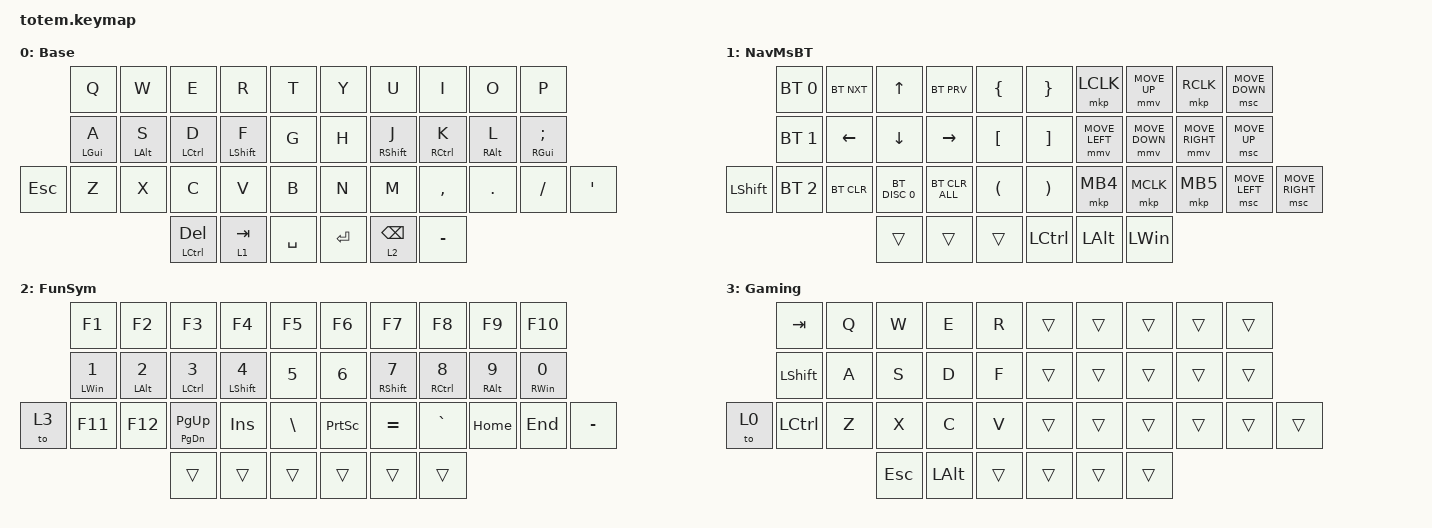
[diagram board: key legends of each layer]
#include <behaviors.dtsi>
#include <dt-bindings/zmk/bt.h>
#include <dt-bindings/zmk/keys.h>
#include <dt-bindings/zmk/mouse.h>

#include "mouse.dtsi"

#define Base        0
#define NavNum      1
#define FunSym      2
#define Gaming      3

&mt {
    quick-tap-ms = <100>;
    global-quick-tap;
    flavor = "tap-preferred";
    tapping-term-ms = <170>;
};

&lt {
    tapping-term-ms = <240>;
    flavor = "balanced";
    quick-tap-ms = <150>;
};

/ {
    behaviors {
        hm: homerow_mods {
            compatible = "zmk,behavior-hold-tap";
            label = "HOMEROW_MODS";
            #binding-cells = <2>;
            flavor = "tap-preferred";
            tapping-term-ms = <200>;
            quick-tap-ms = <125>;
            global-quick-tap;
            bindings = <&kp>, <&kp>;
        };
    };

    combos { compatible = "zmk,combos"; };

    keymap {
        compatible = "zmk,keymap";

        Base {
            label = "Base";
            bindings = <
         &kp Q       &kp W       &kp E                 &kp R         &kp T        &kp Y    &kp U            &kp I        &kp O       &kp P
         &hm LGUI A  &hm LALT S  &hm LCTRL D           &hm LSHIFT F  &kp G        &kp H    &hm RSHFT J      &hm RCTRL K  &hm RALT L  &hm RGUI SEMICOLON
&kp ESC  &kp Z       &kp X       &kp C                 &kp V         &kp B        &kp N    &kp M            &kp COMMA    &kp DOT     &kp SLASH           &kp APOSTROPHE
                                 &mt LEFT_CONTROL DEL  &lt 1 TAB     &kp SPACE    &kp RET  &lt 2 BACKSPACE  &kp MINUS
            >;
        };

        NavMsBT {
            label = "NavMsBT";
            bindings = <
                &bt BT_SEL 0  &bt BT_NXT  &kp UP_ARROW   &bt BT_PRV      &kp LBRC    &kp RBRC          &mkp LCLK       &mmv MOVE_UP    &mkp RCLK        &msc MOVE_DOWN
                &bt BT_SEL 1  &kp LEFT    &kp DOWN       &kp RIGHT       &kp LBKT    &kp RBKT          &mmv MOVE_LEFT  &mmv MOVE_DOWN  &mmv MOVE_RIGHT  &msc MOVE_UP
&kp LEFT_SHIFT  &bt BT_SEL 2  &bt BT_CLR  &bt BT_DISC 0  &bt BT_CLR_ALL  &kp LPAR    &kp RPAR          &mkp MB4        &mkp MCLK       &mkp MB5         &msc MOVE_LEFT  &msc MOVE_RIGHT
                                          &trans         &trans          &trans      &kp LEFT_CONTROL  &kp LEFT_ALT    &kp LEFT_WIN
            >;
        };

        FunSym {
            label = "FunSym";
            bindings = <
       &kp F1                 &kp F2                 &kp F3                     &kp F4              &kp F5           &kp F6           &kp F7              &kp F8                &kp F9            &kp F10
       &hm LEFT_WIN NUMBER_1  &hm LEFT_ALT NUMBER_2  &hm LEFT_CONTROL NUMBER_3  &hm LSHFT NUMBER_4  &kp N5           &kp NUMBER_6     &hm RIGHT_SHIFT N7  &hm RIGHT_CONTROL N8  &hm RIGHT_ALT N9  &hm RIGHT_WIN N0
&to 3  &kp F11                &kp F12                &mt PAGE_DOWN PAGE_UP      &kp INS             &kp BACKSLASH    &kp PRINTSCREEN  &kp EQUAL           &kp GRAVE             &kp HOME          &kp END           &kp MINUS
                                                     &trans                     &trans              &trans           &trans           &trans              &trans
            >;
        };

        Gaming {
            bindings = <
       &kp TAB           &kp Q  &kp W       &kp E         &kp R     &trans  &trans  &trans  &trans  &trans
       &kp LSHIFT        &kp A  &kp S       &kp D         &kp F     &trans  &trans  &trans  &trans  &trans
&to 0  &kp LEFT_CONTROL  &kp Z  &kp X       &kp C         &kp V     &trans  &trans  &trans  &trans  &trans  &trans
                                &kp ESCAPE  &kp LEFT_ALT  &trans    &trans  &trans  &trans
            >;

            label = "Gaming";
        };
    };
};
